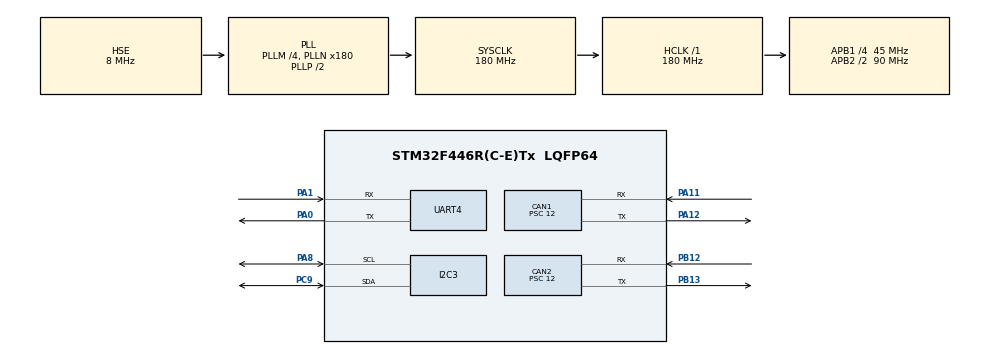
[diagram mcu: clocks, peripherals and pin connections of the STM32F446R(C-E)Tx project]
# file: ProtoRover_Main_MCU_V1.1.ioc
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CAN1.BS1=CAN_BS1_11TQ
CAN1.BS2=CAN_BS2_3TQ
CAN1.CalculateBaudRate=250000
CAN1.CalculateTimeBit=4000
CAN1.CalculateTimeQuantum=266.66666666666663
CAN1.Mode=CAN_MODE_LOOPBACK
CAN1.Prescaler=12
CAN2.BS1=CAN_BS1_11TQ
CAN2.BS2=CAN_BS2_3TQ
CAN2.CalculateBaudRate=250000
CAN2.CalculateTimeBit=4000
CAN2.CalculateTimeQuantum=266.66666666666663
CAN2.Prescaler=12
I2C3.I2C_Mode=I2C_Standard
Mcu.Family=STM32F4
Mcu.Name=STM32F446R(C-E)Tx
Mcu.Package=LQFP64
NVIC.CAN1_RX0_IRQn=true\:0\:0\:false\:false\:true\:true\:true\:true
NVIC.CAN1_RX1_IRQn=true\:0\:0\:false\:false\:true\:true\:true\:true
NVIC.CAN2_RX0_IRQn=true\:0\:0\:false\:false\:true\:true\:true\:true
NVIC.CAN2_RX1_IRQn=true\:0\:0\:false\:false\:true\:true\:true\:true
NVIC.PriorityGroup=NVIC_PRIORITYGROUP_4
NVIC.UART4_IRQn=true\:0\:0\:false\:false\:true\:true\:true\:true
PA0-WKUP.Mode=Asynchronous
PA0-WKUP.Signal=UART4_TX
PA1.Mode=Asynchronous
PA1.Signal=UART4_RX
PA11.Mode=CAN_Activate
PA11.Signal=CAN1_RX
PA12.Mode=CAN_Activate
PA12.Signal=CAN1_TX
PA13.Mode=Serial_Wire
PA13.Signal=SYS_JTMS-SWDIO
PA14.Mode=Serial_Wire
PA14.Signal=SYS_JTCK-SWCLK
PA8.Mode=I2C
PA8.Signal=I2C3_SCL
PB12.Mode=CAN_Activate
PB12.Signal=CAN2_RX
PB13.Mode=CAN_Activate
PB13.Signal=CAN2_TX
PC9.Mode=I2C
PC9.Signal=I2C3_SDA
PH0-OSC_IN.Mode=HSE-External-Oscillator
PH0-OSC_IN.Signal=RCC_OSC_IN
PH1-OSC_OUT.Mode=HSE-External-Oscillator
PH1-OSC_OUT.Signal=RCC_OSC_OUT
ProjectManager.HeapSize=0x200
ProjectManager.StackSize=0x400
ProjectManager.TargetToolchain=MDK-ARM V5.32
RCC.AHBFreq_Value=180000000
RCC.APB1CLKDivider=RCC_HCLK_DIV4
RCC.APB1Freq_Value=45000000
RCC.APB1TimFreq_Value=90000000
RCC.APB2CLKDivider=RCC_HCLK_DIV2
RCC.APB2Freq_Value=90000000
RCC.APB2TimFreq_Value=180000000
RCC.CortexFreq_Value=180000000
RCC.HCLKFreq_Value=180000000
RCC.HSE_VALUE=8000000
RCC.PLLM=4
RCC.PLLN=180
RCC.PLLSourceVirtual=RCC_PLLSOURCE_HSE
RCC.SYSCLKFreq_VALUE=180000000
RCC.SYSCLKSource=RCC_SYSCLKSOURCE_PLLCLK
RCC.USBFreq_Value=180000000
RCC.VCOOutputFreq_Value=360000000
UART4.VirtualMode=Asynchronous
board=custom

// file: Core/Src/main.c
/* USER CODE BEGIN Header */
/**
  ******************************************************************************
  * @file           : main.c
  * @brief          : Main program body
  ******************************************************************************
  * @attention
  *
  * Copyright (c) 2024 STMicroelectronics.
  * All rights reserved.
  *
  * This software is licensed under terms that can be found in the LICENSE file
  * in the root directory of this software component.
  * If no LICENSE file comes with this software, it is provided AS-IS.
  *
  ******************************************************************************
  */
/* USER CODE END Header */
#include "main.h"

/* USER CODE BEGIN Includes */
#include "math.h"
#include "String.h"

/* USER CODE END Includes */

CAN_HandleTypeDef hcan1;
CAN_HandleTypeDef hcan2;

I2C_HandleTypeDef hi2c3;

UART_HandleTypeDef huart4;

/* USER CODE BEGIN PV */

////////////Joystick/////////////////////////////

uint8_t Bt_Data[8];
uint8_t Mode,Speed,Steer_mode,Steer_Angle,Joystick,Sheering=0;
uint8_t Bt_Count;

/////////////////////////////////////////////////

/////////////CAN/////////////////////////////////
CAN_TxHeaderTypeDef TxHeader;
CAN_RxHeaderTypeDef RxHeader;
CAN_TxHeaderTypeDef TxHeader2;
CAN_RxHeaderTypeDef RxHeader2;
uint8_t TxData[8];
uint8_t RxData[8];
uint8_t TxData2[8];
uint8_t RxData2[8];

uint32_t TxMailBox;
uint16_t Node_Id[20];
uint8_t Received_Command_Id=0;
uint8_t Received_Node_Id=0;
uint16_t Drive_Node_id=0;
uint8_t close_loop[4]={8,0,0,0};

#define  VEL_ID  0x0D;
#define  POS_ID  0x0C;
////////////////////////////////////////////////

//////////////////IMU_PID/////////////////////////
float D_Yaw,D_Pitch,D_Roll=0;
uint8_t I2cReadBuff[6];
uint8_t I2cWriteBuff[6];
int Address_imu  = 0x28<<1;
float Err_Roll,Err_Pitch=0;
float Err_Slope_Roll,Err_Slope_Pitch=0;
float Err_Area_Roll,Err_Area_Pitch;
float Home_Roll=-6.06,Home_Pitch=8.43;
float Pitch_boundary=0.5;
float D_Kp_Roll=0.06,D_Kp_Pitch=0.3;
float D_Ki_Roll=0,D_Ki_Pitch=0.3;
float D_Kd_Roll=0,D_Kd_Pitch=0.276;
float Roll_Speed,Pitch_Speed=0;
float Roll_Speed_PID,Pitch_Speed_PID=0;
float Roll_Speed_P,Roll_Speed_I,Roll_Speed_D=0;
float Pitch_Speed_P,Pitch_Speed_I,Pitch_Speed_D=0;
uint16_t Gimbal_id_temp=0;
float Error_Change_Pitch_PID=0;
float Prev_Error_Roll=0;
float Prev_Error_Pitch=0;
double dt=0.01 ;
uint16_t zero=0;

float Ratio=0.111;
///////////////////////////////////////////////////////

////////////////////Wheels//////////////////////////////
	uint8_t Wheel_Id[4];
	uint16_t Wheel_Id_temp;
	float Velocity[4]={0,0,0,0};
	float SteerTestVelocity = 1;
	uint8_t wheel_speed_temp=0;
	uint16_t count=0;
	uint8_t Test,Test_temp=0;
///////////////////////////////////////////////////////

////////////////Skid-Turn//////////////////////////////
float Skid_Factor=0;
float W_Velocity=1.5;
float skid_speed=0;
float Steer_Angle_temp=0;
float actual_speed=0;
///////////////////////////////////////////////////////

/* USER CODE END PV */

void SystemClock_Config(void);
static void MX_GPIO_Init(void);
static void MX_UART4_Init(void);
static void MX_I2C3_Init(void);
static void MX_CAN1_Init(void);
static void MX_CAN2_Init(void);

/* USER CODE BEGIN 0 */

float float16_to_decimal(uint16_t float16) {
    // Extract the sign, exponent, and mantissa
    uint16_t sign = (float16 >> 15) & 0x1;
    uint16_t exponent = (float16 >> 10) & 0x1F;
    uint16_t mantissa = float16 & 0x3FF;

    float result;
        // Convert exponent to actual exponent
        int exp = (int)exponent - 15; // Adjust exponent by bias
        // Convert mantissa to fraction
        float frac = (float)mantissa / 1024.0f;
        // Combine sign, exponent, and mantissa

         double decimal_value = pow(-1, sign) * (1 + mantissa/ 1024.0) * pow(2, exponent - 15);
        //result = ldexpf(1.0f + frac, exp);
        //result = (sign ? -result : result);

    return decimal_value;
}
////////////////// Joystick/////////////////////////////////////////////////////
void Joystick_Data(void){
		//HAL_UART_Receive_IT(&huart4,Bt_Data ,sizeof(Bt_Data));
	if((Bt_Data[0]==0xAA && Bt_Data[7]==0xFF ))
		{
			Mode = Bt_Data[1];

			Speed = Bt_Data[2];

			Steer_mode = Bt_Data[3];

			Steer_Angle =Bt_Data[4] ;

			Joystick= Bt_Data[5];

			Sheering = Bt_Data[6];
		}
 }

 //////////////////////////////////////////////////////////////////////////////

 //////////////////////////////IMU-BNO055//////////////////////////////////////
 	uint8_t I2cSensorWrite(uint8_t RegAdd, uint8_t I2cData)
{
	HAL_I2C_Mem_Write(&hi2c3,Address_imu,RegAdd,I2C_MEMADD_SIZE_8BIT,&I2cData,1,100);
	return 0;
}

uint8_t   I2cSensorRead(uint8_t RegAdd)
{
	uint8_t ReadData;
	HAL_I2C_Mem_Read(&hi2c3,Address_imu,RegAdd,I2C_MEMADD_SIZE_8BIT,&ReadData,1,100);
	return ReadData;
}

void SensorSetting()
	{
			I2cSensorWrite(0x07,0x01);  // 0x07 -> Page selection Register   0x01 -> select page 1
			I2cSensorWrite(0x08,0x0F);  //0x0f acc_config 16g
			I2cSensorWrite(0x07,0x00);  // 0x07 -> Page selection Register   0x00 -> select page 0
			I2cSensorWrite(0x3D,0x0C);  //0x3D -> Operation Mode 0x0C -> NDOF mode

}

void Read_IMU()
{

		if(HAL_I2C_Mem_Read(&hi2c3,Address_imu,0x1A,I2C_MEMADD_SIZE_8BIT,I2cReadBuff,6,1000) == HAL_OK)
		{

			D_Yaw   =((int16_t)(I2cReadBuff[1]<<8 | I2cReadBuff[0]))/16.0;
			D_Roll  =((int16_t)(I2cReadBuff[3]<<8 | I2cReadBuff[2]))/16.0;
			D_Pitch =((int16_t)(I2cReadBuff[5]<<8 | I2cReadBuff[4]))/16.0;
		}
}
 //////////////////////////////////////////////////////////////////////////////

 ///////////////////////////Callback-Functions////////////////////////////////////////////////
	void HAL_CAN_RxFifo0MsgPendingCallback(CAN_HandleTypeDef *hcan1)
{
	HAL_CAN_GetRxMessage(hcan1, CAN_RX_FIFO0, &RxHeader, RxData);

	Received_Node_Id = RxHeader.StdId >> 5;
	Received_Command_Id = RxHeader.StdId & 0x01F;

  if (Received_Command_Id == 0x01)
	{
	   Node_Id[Received_Node_Id]++;
	}

}

	void HAL_CAN_RxFifo1MsgPendingCallback(CAN_HandleTypeDef *hcan2)
{
	HAL_CAN_GetRxMessage(hcan2, CAN_RX_FIFO1, &RxHeader2, RxData2);

	if(RxHeader2.StdId==0x09){

    Node_Id[9]++;
			D_Roll   =((int16_t)(RxData2[1]<<8 | RxData2[0]))/16.0;
			D_Pitch  =((int16_t)(RxData2[3]<<8 | RxData2[2]))/16.0;
	//		D_Pitch =((int16_t)(RxData2[5]<<8 | RxData2[4]))/16.0;
	}

}
void HAL_UART_RxCpltCallback(UART_HandleTypeDef *huart)
{
			HAL_UART_Receive_IT(&huart4,Bt_Data ,sizeof(Bt_Data));

}
	int CAN_Transmit(uint16_t Std_Id,uint8_t dlc,uint8_t rtr,uint8_t *data)
	{
		TxHeader.StdId=Std_Id;
		TxHeader.ExtId=CAN_ID_STD;
		TxHeader.DLC=dlc;
		TxHeader.RTR=rtr;

		if(HAL_CAN_AddTxMessage(&hcan1,&TxHeader,data,&TxMailBox)== HAL_OK)
		{
			return 1;
		}
		else{ return 0;}

	}
 //////////////////////////////////////////////////////////////////////////////

////////////////////////////////CLOSED_LOOP////////////////////////////////////
void  is_Armed( uint8_t node_id)
{

	Drive_Node_id=(node_id << 5 )| 0x007;
	memcpy(TxData,&close_loop,4);

	CAN_Transmit(Drive_Node_id,4,CAN_RTR_DATA,TxData);

}
///////////////////////////////////////////////////////////////////////////////

//////////////////////////////Wheels_Speed/////////////////////////////////////

void  Wheels_speed(uint16_t id,uint8_t* data)
{
		 Wheel_Id_temp= (id << 5 )| VEL_ID;
		 CAN_Transmit(Wheel_Id_temp,4,CAN_RTR_DATA,data);

}
//////////////////////////////////////////////////////////////////////////////

//////////////////////////////Gimbal_Speed////////////////////////////////////
void Gimbal_Speed(uint16_t id, uint8_t* data)
{

	Gimbal_id_temp=(id << 5) | VEL_ID;
	CAN_Transmit(Gimbal_id_temp,4,CAN_RTR_DATA,data);
	HAL_Delay(1);
}
//////////////////////////////////////////////////////////////////////////////
void Position(uint16_t id, uint8_t* data)
{

	Gimbal_id_temp=(id << 5) | POS_ID;
	CAN_Transmit(Gimbal_id_temp,4,CAN_RTR_DATA,data);
	HAL_Delay(1);
}

///////////////////////////Wheels_Block//////////////////////////////////////
void Wheels_Block()
{

	if(Joystick != Test_temp && Steer_Angle == 90 &&  Steer_mode == 1)
	{
	  switch (Joystick)
	  {
		case 1 :

		       for(int i=1;i<7;i++)
           {
						Velocity[0] = ((i == 4) || (i == 6))? 0.5*Speed :((i == 2) || (i == 5))? 0: -0.5*Speed;
					  memcpy(TxData,&Velocity,4);
						Wheels_speed(i,TxData);HAL_Delay(5);

					 }
					break;

    case 2 :

		       for(int i=1;i<7;i++)
           {
             Velocity[0] = ((i == 4) || (i == 6))? -0.5*Speed :((i == 2) || (i == 5))? 0: 0.5*Speed;
             memcpy(TxData,&Velocity,4);
		         Wheels_speed(i,TxData);HAL_Delay(5);
					 }
					 break;

    case 0 :
			      Velocity[0]=0;
						memcpy(TxData,&Velocity,4);
		       for(int i=1;i<7;i++)
           {
		         Wheels_speed(i,0);HAL_Delay(5);
					 }

					 break;

		default :
             break;
     }
		Test_temp=Joystick;
  }
}
/////////////////////////////////////////////////////////////////////////////////

///////////////////////////Skid-Turning//////////////////////////////////////////
void Skid_Turn()
{
	if(Steer_Angle!= Steer_Angle_temp && Joystick !=0)
	{
	Skid_Factor= Steer_Angle -90;
	skid_speed= ((W_Velocity) - (fabs(Skid_Factor)/30));
	actual_speed=W_Velocity-skid_speed;
		if(Steer_Angle < 90)
		{
			if(Skid_Factor < 0 && Skid_Factor >=-90)
			{
			for(int i=0; i<7;i++)
			{
		  Velocity[0]=(i == 4 || i == 5 || i == 6 )?-1:0.25;
		  memcpy(TxData,&Velocity,4);
	  	Wheels_speed(i,TxData);
      }
		  }
//			if(Skid_Factor <= -50 && Skid_Factor >=-90)
//			{
//				for(int i=0; i<7;i++)
//			{
//		  Velocity[0]=(i == 4 || i == 5 || i == 6 )?-W_Velocity:-W_Velocity;
//		  memcpy(TxData,&Velocity,4);
//	  	Wheels_speed(i,TxData);
//			}
//		 }
		}
		if(Steer_Angle > 90)
		{
		if(Skid_Factor > 0 && Skid_Factor <=90)
			{
			for(int i=0; i<7;i++)
			{
		  Velocity[0]=(i == 4 || i == 5 || i == 6 )?-0.25:1;
		  memcpy(TxData,&Velocity,4);
	  	Wheels_speed(i,TxData);
      }
		  }
//			if(Skid_Factor >= 50 && Skid_Factor <=90)
//			{
//				for(int i=0; i<7;i++)
//			{
//		  Velocity[0]=(i == 1 || i == 2 || i == 3 )?skid_speed:-skid_speed;
//		  memcpy(TxData,&Velocity,4);
//	  	Wheels_speed(i,TxData);
//			}
//			}
		}
			Steer_Angle_temp = Steer_Angle;
		}

}
///////////////////////////////////////////////////////////////////////////

////////////////////////////Gimble//////////////////////////////////////
void Gimble()
{
	Err_Roll = D_Roll - Home_Roll;
	Roll_Speed=Roll_PID(Err_Roll);
	Roll_Speed=-Roll_Speed;

	Err_Pitch = D_Pitch - Home_Pitch;
	Pitch_Speed=Pitch_PID(Err_Pitch);
	Pitch_Speed=-Pitch_Speed;

	memcpy(TxData,&Roll_Speed,4);
	Gimbal_Speed(8,TxData);

	//Pitch_Speed= Pitch_Speed < -1.25 ? -1.25 : Pitch_Speed > 1.25 ? 1.25 : Pitch_Speed;

	Pitch_Speed = ((D_Pitch < (Home_Pitch + Pitch_boundary)) && (D_Pitch > (Home_Pitch - Pitch_boundary))) ? 0:Pitch_Speed;
	Pitch_Speed= Pitch_Speed < 0.3 && Pitch_Speed > -0.3? 0 : Pitch_Speed;
	//Pitch_Speed=(D_Pitch <-2.78&& D_Pitch > -2.78) || (D_Pitch >178 && D_Pitch <180) ? 0:Pitch_Speed;
 	 memcpy(TxData,&Pitch_Speed,4);
	 Gimbal_Speed(7,TxData);

}

//void position_control(void){
//	Err_Roll=D_Roll - Home_Roll;
//
//	Err_Pitch = D_Pitch - Home_Pitch;
//
//	Roll_Speed=Err_Roll*Ratio;
//	Pitch_Speed=Err_Pitch*Ratio;
//	Pitch_Speed = -Pitch_Speed;
//
//	memcpy(TxData,&Roll_Speed,4);
//	Position(8,TxData);
//	memcpy(TxData,&Pitch_Speed,4);
//
//	//if(D_Pitch > Home_Pitch + 0.5 && D_Pitch < Home_Pitch -0.5){
//	    Position(7,TxData);
//	//}

//
//
//}
////////////////////////////////////////////////////////////////////

///////////////////////////////PID/////////////////////////////////
float Roll_PID(float Error){

   float Error_Change_Roll_PID=Error-Prev_Error_Roll;
	 Err_Slope_Roll=Error_Change_Roll_PID/dt;
	 Err_Area_Roll=Err_Area_Roll+(Error_Change_Roll_PID*dt);

	 Roll_Speed_P=Error * D_Kp_Roll;
	 Roll_Speed_I=Err_Area_Roll * D_Ki_Roll;
	 Roll_Speed_D=Err_Slope_Roll * D_Kd_Roll;

	 Roll_Speed_PID=Roll_Speed_P+Roll_Speed_I+Roll_Speed_D;

	 Prev_Error_Roll=Error;

	 return Roll_Speed_PID;
}

float Pitch_PID(float Error){

   Error_Change_Pitch_PID=Error-Prev_Error_Pitch;
	 Err_Slope_Pitch=Error_Change_Pitch_PID/dt;
	 Err_Area_Pitch=Err_Area_Pitch+(Error_Change_Pitch_PID*dt);

	Pitch_Speed_P=Error*D_Kp_Pitch;
  Pitch_Speed_I=Err_Area_Pitch * D_Ki_Pitch;
	Pitch_Speed_D=Err_Slope_Pitch * D_Kd_Pitch;

	Pitch_Speed_PID=Pitch_Speed_P+Pitch_Speed_I+Pitch_Speed_D;
	Pitch_Speed_PID=-Pitch_Speed_PID;
	Prev_Error_Pitch=Error;

	 return Pitch_Speed_PID;
}
//////////////////////////////////////////////////////////////////////////////

//////////////////////////////////Frame_Block///////////////////////////////
void Frame_Block()
{

	if(Joystick != Test_temp && Steer_mode == 4 )
	{

	  switch (Joystick)
	  {
		case 1 :

						Velocity[0] = 0.5;
					  memcpy(TxData,&Velocity,4);
						Wheels_speed(7,TxData);HAL_Delay(1);

					 break;

    case 2 :

             Velocity[0] = -0.5;
             memcpy(TxData,&Velocity,4);
		         Wheels_speed(7,TxData);HAL_Delay(1);

					 break;

    case 0 :
			      Velocity[0]=0;
						memcpy(TxData,&Velocity,4);

		         Wheels_speed(7,0);HAL_Delay(1);

					 break;

		default :
             break;
     }
	 }

 else if(Steer_mode == 3 )
	{

						Velocity[0] = 0.8;
					  memcpy(TxData,&Velocity,4);
						Position(7,TxData);HAL_Delay(1);

	 }
		Test_temp=Joystick;
 }
////////////////////////////////////////////////////////////////////////

/* USER CODE END 0 */

int main(void)
{

  /* MCU Configuration--------------------------------------------------------*/

  /* Reset of all peripherals, Initializes the Flash interface and the Systick. */
  HAL_Init();

  /* Configure the system clock */
  SystemClock_Config();

  /* Initialize all configured peripherals */
  MX_GPIO_Init();
  MX_UART4_Init();
  MX_I2C3_Init();
  MX_CAN1_Init();
  MX_CAN2_Init();
  /* USER CODE BEGIN 2 */
	HAL_UART_Receive_IT(&huart4,Bt_Data,sizeof(Bt_Data));

	HAL_CAN_Start(&hcan1);
	HAL_CAN_Start(&hcan2);
	HAL_Delay(100);
	HAL_CAN_ActivateNotification(&hcan1, CAN_IT_RX_FIFO0_MSG_PENDING);
	HAL_CAN_ActivateNotification(&hcan2, CAN_IT_RX_FIFO1_MSG_PENDING);
  HAL_Delay(5000);
	for(int i=1;i<9;i++)
	{
		if(i==2 || i==5){
		}
		else{
	for(int j=0;j<2;j++){
	is_Armed(i);
	HAL_Delay(10);
	}
  }
	}

  /* USER CODE END 2 */

  /* Infinite loop */
  while (1)
  {

    /* USER CODE BEGIN 3 */

		Joystick_Data();
//		if (Steer_mode!=3 && Steer_mode!=4 && Mode == 2){
	//	Gimble();
//		}
//	 if(Mode == 1 )
//	 {
//		Frame_Block();
//	 }
		Wheels_Block();
		//Skid_Turn();

  }
  /* USER CODE END 3 */
}

void SystemClock_Config(void)
{
  RCC_OscInitTypeDef RCC_OscInitStruct = {0};
  RCC_ClkInitTypeDef RCC_ClkInitStruct = {0};

  /** Configure the main internal regulator output voltage
  */
  __HAL_RCC_PWR_CLK_ENABLE();
  __HAL_PWR_VOLTAGESCALING_CONFIG(PWR_REGULATOR_VOLTAGE_SCALE1);

  /** Initializes the RCC Oscillators according to the specified parameters
  * in the RCC_OscInitTypeDef structure.
  */
  RCC_OscInitStruct.OscillatorType = RCC_OSCILLATORTYPE_HSE;
  RCC_OscInitStruct.HSEState = RCC_HSE_ON;
  RCC_OscInitStruct.PLL.PLLState = RCC_PLL_ON;
  RCC_OscInitStruct.PLL.PLLSource = RCC_PLLSOURCE_HSE;
  RCC_OscInitStruct.PLL.PLLM = 4;
  RCC_OscInitStruct.PLL.PLLN = 180;
  RCC_OscInitStruct.PLL.PLLP = RCC_PLLP_DIV2;
  RCC_OscInitStruct.PLL.PLLQ = 2;
  RCC_OscInitStruct.PLL.PLLR = 2;
  if (HAL_RCC_OscConfig(&RCC_OscInitStruct) != HAL_OK)
  {
    Error_Handler();
  }

  /** Activate the Over-Drive mode
  */
  if (HAL_PWREx_EnableOverDrive() != HAL_OK)
  {
    Error_Handler();
  }

  /** Initializes the CPU, AHB and APB buses clocks
  */
  RCC_ClkInitStruct.ClockType = RCC_CLOCKTYPE_HCLK|RCC_CLOCKTYPE_SYSCLK
                              |RCC_CLOCKTYPE_PCLK1|RCC_CLOCKTYPE_PCLK2;
  RCC_ClkInitStruct.SYSCLKSource = RCC_SYSCLKSOURCE_PLLCLK;
  RCC_ClkInitStruct.AHBCLKDivider = RCC_SYSCLK_DIV1;
  RCC_ClkInitStruct.APB1CLKDivider = RCC_HCLK_DIV4;
  RCC_ClkInitStruct.APB2CLKDivider = RCC_HCLK_DIV2;

  if (HAL_RCC_ClockConfig(&RCC_ClkInitStruct, FLASH_LATENCY_5) != HAL_OK)
  {
    Error_Handler();
  }
}

static void MX_CAN1_Init(void)
{

  hcan1.Instance = CAN1;
  hcan1.Init.Prescaler = 12;
  hcan1.Init.Mode = CAN_MODE_NORMAL;
  hcan1.Init.SyncJumpWidth = CAN_SJW_1TQ;
  hcan1.Init.TimeSeg1 = CAN_BS1_11TQ;
  hcan1.Init.TimeSeg2 = CAN_BS2_3TQ;
  hcan1.Init.TimeTriggeredMode = DISABLE;
  hcan1.Init.AutoBusOff = DISABLE;
  hcan1.Init.AutoWakeUp = DISABLE;
  hcan1.Init.AutoRetransmission = DISABLE;
  hcan1.Init.ReceiveFifoLocked = DISABLE;
  hcan1.Init.TransmitFifoPriority = DISABLE;
  if (HAL_CAN_Init(&hcan1) != HAL_OK)
  {
    Error_Handler();
  }
  /* USER CODE BEGIN CAN1_Init 2 */
	CAN_FilterTypeDef canfilterconfig;

	canfilterconfig.FilterActivation = CAN_FILTER_ENABLE;
	canfilterconfig.FilterBank = 0;	// which filter bank to use from the assigned ones
	canfilterconfig.FilterFIFOAssignment = CAN_FILTER_FIFO0;
	canfilterconfig.FilterIdHigh = 0x000<<5;
	canfilterconfig.FilterIdLow = 0;
	canfilterconfig.FilterMaskIdHigh = 0x000<<5;
	canfilterconfig.FilterMaskIdLow = 0x0000;
	canfilterconfig.FilterMode = CAN_FILTERMODE_IDMASK;
	canfilterconfig.FilterScale = CAN_FILTERSCALE_32BIT;
	canfilterconfig.SlaveStartFilterBank = 14; //14 // how many filters to assign to the CAN1 (master can)

	HAL_CAN_ConfigFilter(&hcan1, &canfilterconfig);

  /* USER CODE END CAN1_Init 2 */

}

static void MX_CAN2_Init(void)
{

  hcan2.Instance = CAN2;
  hcan2.Init.Prescaler = 12;
  hcan2.Init.Mode = CAN_MODE_NORMAL;
  hcan2.Init.SyncJumpWidth = CAN_SJW_1TQ;
  hcan2.Init.TimeSeg1 = CAN_BS1_11TQ;
  hcan2.Init.TimeSeg2 = CAN_BS2_3TQ;
  hcan2.Init.TimeTriggeredMode = DISABLE;
  hcan2.Init.AutoBusOff = DISABLE;
  hcan2.Init.AutoWakeUp = DISABLE;
  hcan2.Init.AutoRetransmission = DISABLE;
  hcan2.Init.ReceiveFifoLocked = DISABLE;
  hcan2.Init.TransmitFifoPriority = DISABLE;
  if (HAL_CAN_Init(&hcan2) != HAL_OK)
  {
    Error_Handler();
  }
  /* USER CODE BEGIN CAN2_Init 2 */
	CAN_FilterTypeDef canfilterconfig;

	canfilterconfig.FilterActivation = CAN_FILTER_ENABLE;
	canfilterconfig.FilterBank = 14; //14 // which filter bank to use from the assigned ones
	canfilterconfig.FilterFIFOAssignment = CAN_FILTER_FIFO1;
	canfilterconfig.FilterIdHigh = 0x000<<5;
	canfilterconfig.FilterIdLow = 0;
	canfilterconfig.FilterMaskIdHigh = 0x000<<5;
	canfilterconfig.FilterMaskIdLow = 0x0000;
	canfilterconfig.FilterMode = CAN_FILTERMODE_IDMASK;
	canfilterconfig.FilterScale = CAN_FILTERSCALE_32BIT;
	canfilterconfig.SlaveStartFilterBank = 14;//14	// how many filters to assign to the CAN1 (master can)

	HAL_CAN_ConfigFilter(&hcan2, &canfilterconfig);

  /* USER CODE END CAN2_Init 2 */

}

static void MX_I2C3_Init(void)
{

  hi2c3.Instance = I2C3;
  hi2c3.Init.ClockSpeed = 100000;
  hi2c3.Init.DutyCycle = I2C_DUTYCYCLE_2;
  hi2c3.Init.OwnAddress1 = 0;
  hi2c3.Init.AddressingMode = I2C_ADDRESSINGMODE_7BIT;
  hi2c3.Init.DualAddressMode = I2C_DUALADDRESS_DISABLE;
  hi2c3.Init.OwnAddress2 = 0;
  hi2c3.Init.GeneralCallMode = I2C_GENERALCALL_DISABLE;
  hi2c3.Init.NoStretchMode = I2C_NOSTRETCH_DISABLE;
  if (HAL_I2C_Init(&hi2c3) != HAL_OK)
  {
    Error_Handler();
  }

}

static void MX_UART4_Init(void)
{

  huart4.Instance = UART4;
  huart4.Init.BaudRate = 115200;
  huart4.Init.WordLength = UART_WORDLENGTH_8B;
  huart4.Init.StopBits = UART_STOPBITS_1;
  huart4.Init.Parity = UART_PARITY_NONE;
  huart4.Init.Mode = UART_MODE_TX_RX;
  huart4.Init.HwFlowCtl = UART_HWCONTROL_NONE;
  huart4.Init.OverSampling = UART_OVERSAMPLING_16;
  if (HAL_UART_Init(&huart4) != HAL_OK)
  {
    Error_Handler();
  }

}

static void MX_GPIO_Init(void)
{

  /* GPIO Ports Clock Enable */
  __HAL_RCC_GPIOH_CLK_ENABLE();
  __HAL_RCC_GPIOA_CLK_ENABLE();
  __HAL_RCC_GPIOB_CLK_ENABLE();
  __HAL_RCC_GPIOC_CLK_ENABLE();

}

void Error_Handler(void)
{
  __disable_irq();
  while (1)
  {
  }
}
